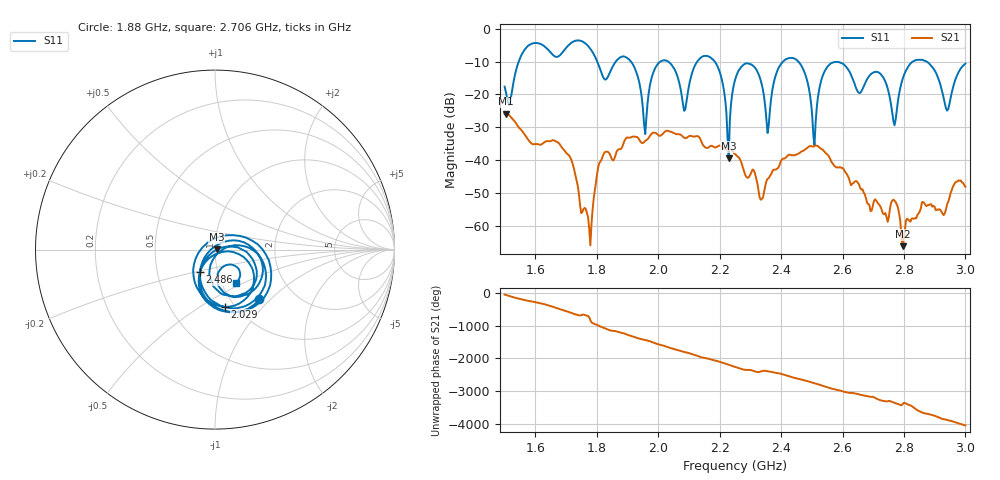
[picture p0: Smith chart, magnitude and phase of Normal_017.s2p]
# HZ S RI R 50
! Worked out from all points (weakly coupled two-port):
!   404 points, 1.5 GHz to 3 GHz, reference 50 ohm
!   highest |S21| = -25.83 dB at 1.504 GHz (marker M1); lowest = -66.1 dB at 2.795 GHz (marker M2)
!   lowest |S11| = -39.4 dB at 2.23 GHz (marker M3), VSWR 1.02, Z = 51.1 + j0.078 ohm
!   |S11| at or under -10 dB: 2.184 GHz to 2.407 GHz (223 MHz wide, 9.72 % of centre); 2.456 GHz to 2.829 GHz (373 MHz wide, 14.1 % of centre); 2.873 GHz to end of sweep (the widest 3 of 7)
!   S12 and S22 are empty: the file has one direction only
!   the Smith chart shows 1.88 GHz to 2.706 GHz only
!   S11 on the Smith chart (normalised r, x): 1.88 GHz: 1.34, -0.86; 2.029 GHz: 0.90, -0.64; 2.486 GHz: 0.82, -0.21; 2.706 GHz: 1.17, -0.46
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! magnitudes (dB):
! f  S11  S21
! 1.5 GHz  -17.6  -25.9
! 1.504 GHz  -19.1  -25.8
! 1.705 GHz  -5.4  -38.1
! 1.753 GHz  -3.9  -55.7
! 1.88 GHz  -8.6  -36.5
! 1.958 GHz  -32.0  -34.1
! 2.002 GHz  -10.4  -32.6
! 2.029 GHz  -9.8  -31.0
! 2.084 GHz  -25.0  -33.1
! 2.177 GHz  -9.3  -35.7
! 2.23 GHz  -39.4  -36.7
! 2.252 GHz  -15.1  -38.2
! 2.337 GHz  -17.1  -51.7
! 2.356 GHz  -31.7  -45.6
! 2.486 GHz  -16.4  -36.2
! 2.501 GHz  -26.3  -35.8
! 2.561 GHz  -10.7  -39.8
! 2.706 GHz  -13.2  -51.8
! 2.751 GHz  -19.5  -57.4
! 2.795 GHz  -15.4  -66.1
! 2.94 GHz  -24.9  -53.3
! 3 GHz  -10.7  -48.0
